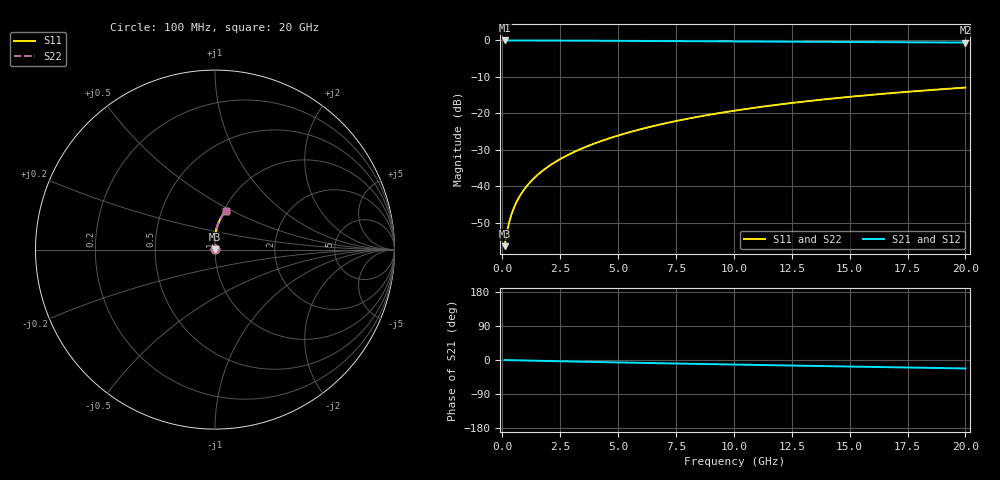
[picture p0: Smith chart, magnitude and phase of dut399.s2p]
! Touchstone file exported from HFSS 2024.1.0
!  File:  C:/UserFiles/LocalFiles/RDL_TSV_Batchsim/temp_RDL_top_399_1779610151.aedt
!  Generated:  04:11:31 PM May 24, 2026
!  Design:  RDL_top
!  Project:  temp_RDL_top_399_1779610151
!  Setup:  Setup1
!  Solution:  Sweep
! Variables:
!  dtsv = 10.80580581um
!  hbump = 3um
!  htsv = 52.04um
!  ldown = 100um
!  lrdl = 300.02um
!  p = 40
!  p1 = 53.47um
!  rhole = 1um
!  t = 450um
!  tdown = 3.915915916um
!  trdl = 4.6um
!  wdown = 15.38538539um
!  wrdl = 25.16um
# GHz S MA R 50.000000
! Terminal data exported
! Port[1] = Box2_T1
! Port[2] = Box2_T2
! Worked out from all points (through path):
!   200 points, 100 MHz to 20 GHz, reference 50 ohm
!   highest |S21| = -0.01 dB at 100 MHz (marker M1); lowest = -0.6 dB at 20 GHz (marker M2)
!   group delay of S21, straight-line fit = 3.05 ps
!   lowest |S11| = -56.5 dB at 100 MHz (marker M3), VSWR 1.00, Z = 50.1 + j0.102 ohm
!   |S11| at or under -10 dB: start of sweep to end of sweep
!   |S22| runs from -56.5 to -12.9 dB; largest |S21 - S12| = 4.3e-15
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0.1  0.001499 42.7  0.9989 -0.1  0.9989 -0.1  0.001499 42.7
! Gamma 0 0 0 0
! Port Impedance 50 0 50 0
0.2  0.002316 60.4  0.9988 -0.3  0.9988 -0.3  0.002316 60.4
0.3  0.003214 68.1  0.9987 -0.4  0.9987 -0.4  0.003214 68.1
0.4  0.00412 72.4  0.9986 -0.5  0.9986 -0.5  0.004119 72.3
0.5  0.005019 75.1  0.9985 -0.7  0.9985 -0.7  0.005018 75.1
0.7  0.006806 78.8  0.9983 -0.9  0.9983 -0.9  0.006805 78.8
1  0.009492 82.2  0.998 -1.3  0.998 -1.3  0.00949 82.2
1.4  0.01312 84.9  0.9975 -1.9  0.9975 -1.9  0.01312 84.9
1.7  0.01589 86.3  0.9969 -2.3  0.9969 -2.3  0.01589 86.3
2  0.01871 87.3  0.9963 -2.7  0.9963 -2.7  0.01871 87.3
2.7  0.02545 89.0  0.9946 -3.6  0.9946 -3.6  0.02545 89.0
3.5  0.03349 90.1  0.9923 -4.6  0.9923 -4.6  0.03349 90.1
4.2  0.04081 90.5  0.99 -5.5  0.99 -5.5  0.04081 90.5
5  0.04948 90.7  0.9872 -6.4  0.9872 -6.4  0.04948 90.7
5.9  0.05958 90.5  0.9839 -7.5  0.9839 -7.5  0.05958 90.5
6.8  0.06997 90.0  0.9806 -8.5  0.9806 -8.5  0.06997 90.0
8.4  0.08894 88.6  0.9747 -10.3  0.9747 -10.3  0.08894 88.6
10.1  0.1094 86.8  0.9687 -12.1  0.9687 -12.1  0.1095 86.8
11.7  0.1288 84.8  0.9631 -13.8  0.9631 -13.8  0.1288 84.9
13.4  0.1492 82.7  0.9574 -15.6  0.9574 -15.6  0.1492 82.7
16.7  0.188 78.6  0.9462 -19.0  0.9462 -19.0  0.188 78.6
20  0.2252 74.6  0.9348 -22.3  0.9348 -22.3  0.2252 74.6
